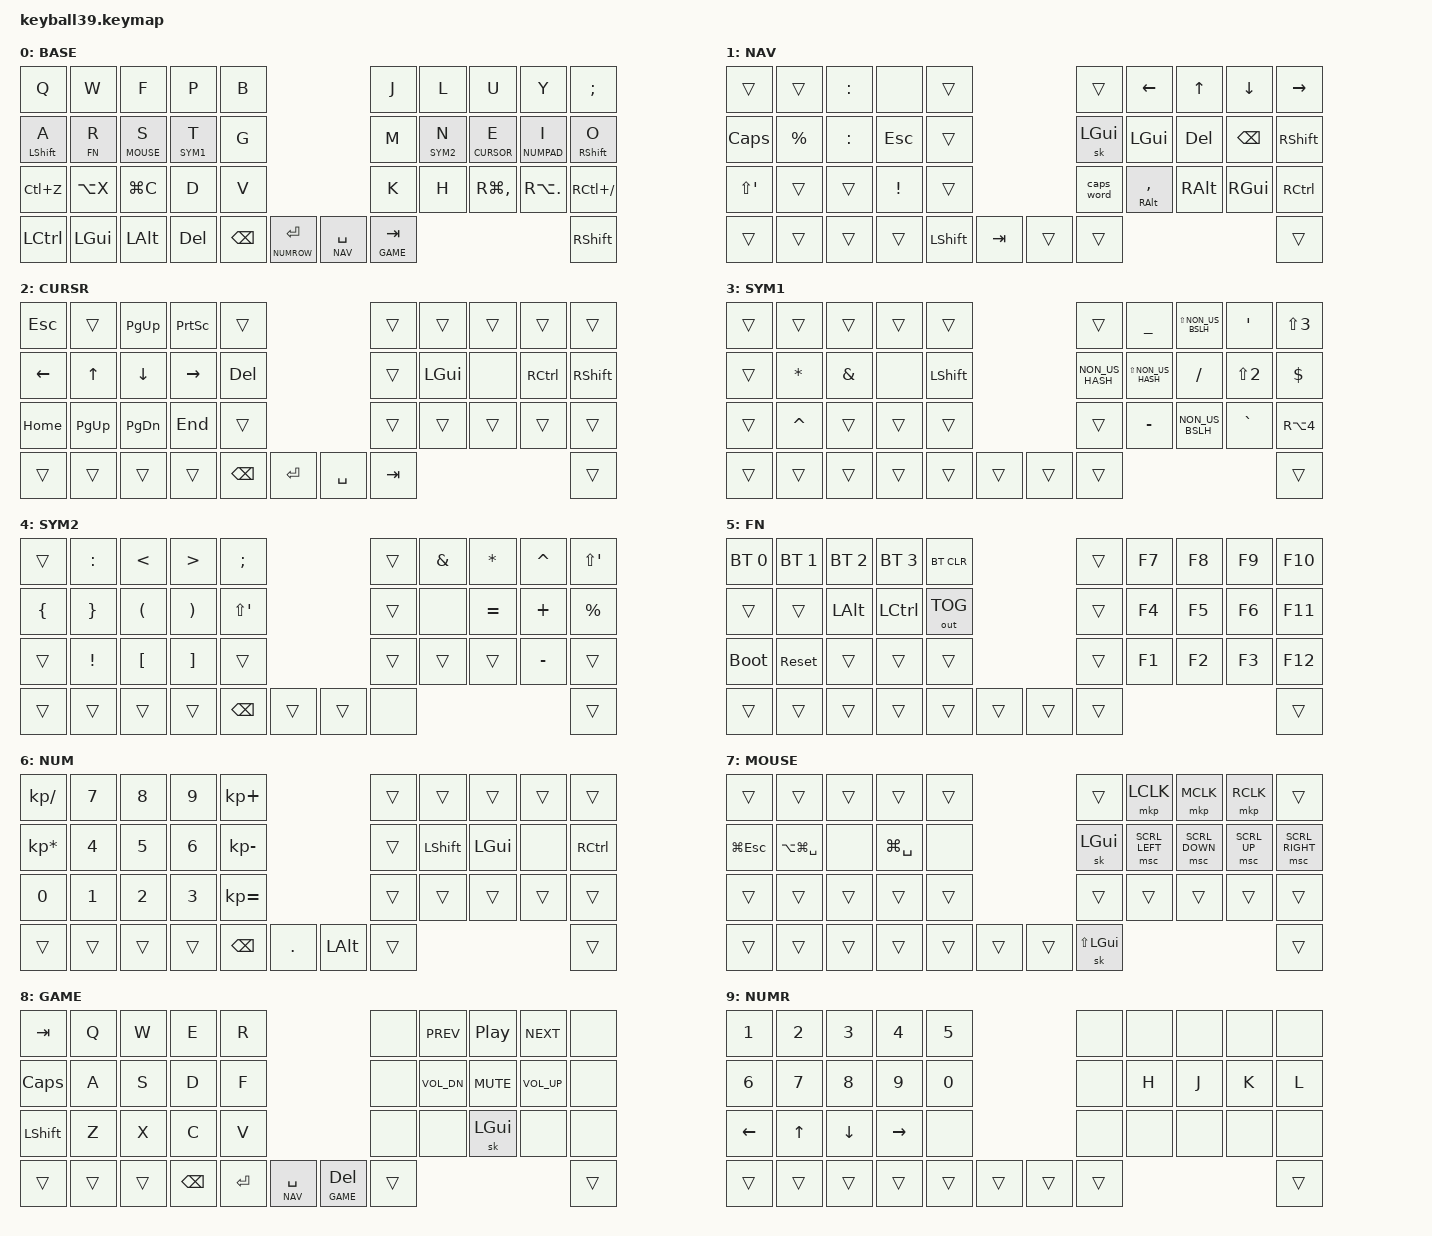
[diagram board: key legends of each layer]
/*
 * Keyball 39 keymap — ported from QMK ferris/sweep "mustardthepirate" config.
 *
 * Alpha layout: Colemak-DH.
 * Host OS: UK ISO layout on Linux. Symbol keycodes chosen so the host
 * renders standard UK punctuation + a € on AltGr+4.
 *
 * Row-3 (thumb row, 9 slots in shield order):
 *   LCTRL | LGUI | LALT | DEL | BSPC | ENT(L9) | SPC(L1) | TAB(L8) | RSHFT
 *   (outer bottom pinky cluster)  (3 left thumbs)   (2 right thumbs)   (outer)
 *
 * Layers:
 *   0 DEFAULT — Colemak-DH, home-row mods, home-row layer-taps
 *   1 NAV     — arrows, one-shot mods           (hold SPC)
 *   2 CURSOR  — cursor / page nav               (hold E)
 *   3 SYM1    — symbols / brackets (UK)         (hold T)
 *   4 SYM2    — symbols / brackets (UK)         (hold N)
 *   5 FN      — F1..F12                         (hold R)
 *   6 NUMPAD  — numpad + math                   (hold I)
 *   7 MOUSE   — mouse clicks + scroll           (hold S)  [trackball = movement]
 *   8 GAME    — QWERTY gaming chunk             (hold TAB)
 *   9 NUMROW  — number row + nav block          (hold ENT)
 */

#include <behaviors/mouse_keys.dtsi>
#include <dt-bindings/zmk/mouse.h>
#include <behaviors.dtsi>
#include <dt-bindings/zmk/bt.h>
#include <dt-bindings/zmk/outputs.h>
#include <dt-bindings/zmk/keys.h>

#define DEFAULT 0
#define NAV     1
#define CURSOR  2
#define SYM1    3
#define SYM2    4
#define FN      5
#define NUMPAD  6
#define MOUSE   7
#define GAME    8
#define NUMROW  9

/* UK-ISO aliases — host is set to UK on omarchy */
#define UK_AT     LS(SQT)              /* @  */
#define UK_DQUO   LS(N2)               /* "  */
#define UK_PND    LS(N3)               /* £  */
#define UK_EURO   RA(N4)               /* €  */
#define UK_HASH   NON_US_HASH          /* #  */
#define UK_TILD   LS(NON_US_HASH)      /* ~  */
#define UK_BSLS   NON_US_BSLH          /* \  */
#define UK_PIPE   LS(NON_US_BSLH)      /* |  */
#define UK_NOT    LS(GRAVE)            /* ¬  */

&lt {
    tapping-term-ms = <200>;
    flavor = "balanced";
    quick-tap-ms = <150>;
};

&mt {
    tapping-term-ms = <200>;
    flavor = "tap-preferred";
    quick-tap-ms = <150>;
};

&caps_word { continue-list = <UNDERSCORE MINUS>; };

/ {
    keymap {
        compatible = "zmk,keymap";

        default_layer {
            label = "BASE";
            bindings = <
&kp Q            &kp W           &kp F         &kp P           &kp B                                                &kp J         &kp L            &kp U            &kp Y            &kp SEMI
&mt LSHFT A      &lt FN R        &lt MOUSE S   &lt SYM1 T      &kp G                                                &kp M         &lt SYM2 N       &lt CURSOR E     &lt NUMPAD I     &mt RSHFT O
&kp LC(Z)        &kp LA(X)       &kp LG(C)     &kp D           &kp V                                                &kp K         &kp H            &kp RG(COMMA)    &kp RA(DOT)      &kp RC(SLASH)
&kp LCTRL        &kp LGUI        &kp LALT      &kp DEL         &kp BSPC        &lt NUMROW RET   &lt NAV SPACE       &lt GAME TAB                                                     &kp RSHFT
            >;
        };

        nav_layer {
            label = "NAV";
            bindings = <
&trans           &trans          &kp COLON     &none           &trans                                               &trans        &kp LEFT         &kp UP           &kp DOWN         &kp RIGHT
&kp CAPS         &kp PERCENT     &kp COLON     &kp ESC         &trans                                               &sk LGUI      &kp LGUI         &kp DEL          &kp BSPC         &kp RSHFT
&kp UK_AT        &trans          &trans        &kp EXCL        &trans                                               &caps_word    &mt RALT COMMA   &kp RALT         &kp RGUI         &kp RCTRL
&trans           &trans          &trans        &trans          &kp LSHFT       &kp TAB          &trans              &trans                                                           &trans
            >;
        };

        cursor_layer {
            label = "CURSR";
            bindings = <
&kp ESC          &trans          &kp PG_UP     &kp PSCRN       &trans                                               &trans        &trans           &trans           &trans           &trans
&kp LEFT         &kp UP          &kp DOWN      &kp RIGHT       &kp DEL                                              &trans        &kp LGUI         &none            &kp RCTRL        &kp RSHFT
&kp HOME         &kp PG_UP       &kp PG_DN     &kp END         &trans                                               &trans        &trans           &trans           &trans           &trans
&trans           &trans          &trans        &trans          &kp BSPC        &kp RET          &kp SPACE           &kp TAB                                                          &trans
            >;
        };

        sym1_layer {
            label = "SYM1";
            bindings = <
&trans           &trans          &trans        &trans          &trans                                               &trans        &kp UNDER        &kp UK_PIPE      &kp SQT          &kp UK_PND
&trans           &kp ASTRK       &kp AMPS      &none           &kp LSHFT                                            &kp UK_HASH   &kp UK_TILD      &kp SLASH        &kp UK_DQUO      &kp DLLR
&trans           &kp CARET       &trans        &trans          &trans                                               &trans        &kp MINUS        &kp UK_BSLS      &kp GRAVE        &kp UK_EURO
&trans           &trans          &trans        &trans          &trans          &trans           &trans              &trans                                                           &trans
            >;
        };

        sym2_layer {
            label = "SYM2";
            bindings = <
&trans           &kp COLON       &kp LT        &kp GT          &kp SEMI                                             &trans        &kp AMPS         &kp ASTRK        &kp CARET        &kp UK_AT
&kp LBRC         &kp RBRC        &kp LPAR      &kp RPAR        &kp UK_AT                                            &trans        &none            &kp EQUAL        &kp PLUS         &kp PERCENT
&trans           &kp EXCL        &kp LBKT      &kp RBKT        &trans                                               &trans        &trans           &trans           &kp MINUS        &trans
&trans           &trans          &trans        &trans          &kp BSPC        &trans           &trans              &none                                                            &trans
            >;
        };

        /* FN + system controls. Hold R:
         *   top-left row = BT profile switching (0..3), BT_CLR
         *   bottom-left = &bootloader (for re-flashing over USB)
         */
        fn_layer {
            label = "FN";
            bindings = <
&bt BT_SEL 0     &bt BT_SEL 1    &bt BT_SEL 2  &bt BT_SEL 3    &bt BT_CLR                                           &trans        &kp F7           &kp F8           &kp F9           &kp F10
&trans           &trans          &kp LALT      &kp LCTRL       &out OUT_TOG                                         &trans        &kp F4           &kp F5           &kp F6           &kp F11
&bootloader      &sys_reset      &trans        &trans          &trans                                               &trans        &kp F1           &kp F2           &kp F3           &kp F12
&trans           &trans          &trans        &trans          &trans          &trans           &trans              &trans                                                           &trans
            >;
        };

        numpad_layer {
            label = "NUM";
            bindings = <
&kp KP_SLASH     &kp N7          &kp N8        &kp N9          &kp KP_PLUS                                          &trans        &trans           &trans           &trans           &trans
&kp KP_ASTERISK  &kp N4          &kp N5        &kp N6          &kp KP_MINUS                                         &trans        &kp LSHFT        &kp LGUI         &none            &kp RCTRL
&kp N0           &kp N1          &kp N2        &kp N3          &kp KP_EQUAL                                         &trans        &trans           &trans           &trans           &trans
&trans           &trans          &trans        &trans          &kp BSPC        &kp DOT          &kp LALT            &trans                                                           &trans
            >;
        };

        mouse_layer {
            label = "MOUSE";
            bindings = <
&trans           &trans          &trans        &trans          &trans                                               &trans        &mkp LCLK        &mkp MCLK        &mkp RCLK        &trans
&kp LG(ESC)      &kp LA(LG(SPACE)) &none       &kp LG(SPACE)   &none                                                &sk LGUI      &msc SCRL_LEFT   &msc SCRL_DOWN   &msc SCRL_UP     &msc SCRL_RIGHT
&trans           &trans          &trans        &trans          &trans                                               &trans        &trans           &trans           &trans           &trans
&trans           &trans          &trans        &trans          &trans          &trans           &trans              &sk LS(LGUI)                                                     &trans
            >;
        };

        game_layer {
            label = "GAME";
            bindings = <
&kp TAB          &kp Q           &kp W         &kp E           &kp R                                                &none         &kp C_PREV       &kp C_PP         &kp C_NEXT       &none
&kp CAPS         &kp A           &kp S         &kp D           &kp F                                                &none         &kp C_VOL_DN     &kp C_MUTE       &kp C_VOL_UP     &none
&kp LSHFT        &kp Z           &kp X         &kp C           &kp V                                                &none         &none            &sk LGUI         &none            &none
&trans           &trans          &trans        &kp BSPC        &kp RET         &lt NAV SPACE    &lt GAME DEL        &trans                                                           &trans
            >;
        };

        numrow_layer {
            label = "NUMR";
            bindings = <
&kp N1           &kp N2          &kp N3        &kp N4          &kp N5                                               &none         &none            &none            &none            &none
&kp N6           &kp N7          &kp N8        &kp N9          &kp N0                                               &none         &kp H            &kp J            &kp K            &kp L
&kp LEFT         &kp UP          &kp DOWN      &kp RIGHT       &none                                                &none         &none            &none            &none            &none
&trans           &trans          &trans        &trans          &trans          &trans           &trans              &trans                                                           &trans
            >;
        };
    };
};
